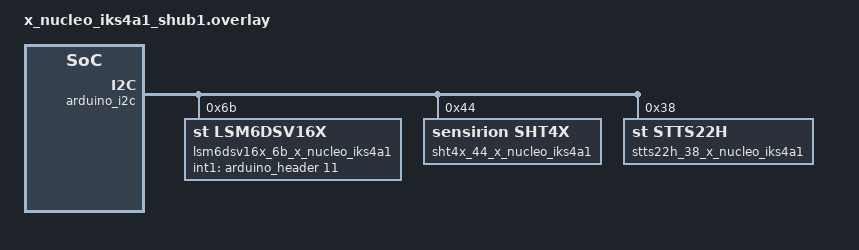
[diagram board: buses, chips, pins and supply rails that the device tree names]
/*
 * Copyright (c) 2024 STMicroelectronics
 *
 * SPDX-License-Identifier: Apache-2.0
 */

/ {
	aliases {
		accel0 = &lsm6dsv16x_6b_x_nucleo_iks4a1;
		temphum0 = &sht4x_44_x_nucleo_iks4a1;
		temp0 = &stts22h_38_x_nucleo_iks4a1;
	};
};

&arduino_i2c {
	lsm6dsv16x_6b_x_nucleo_iks4a1: lsm6dsv16x@6b {
		compatible = "st,lsm6dsv16x";
		reg = <0x6b>;
		accel-odr = <0x02>;
		gyro-odr = <0x02>;
		int1-gpios =  <&arduino_header 11 GPIO_ACTIVE_HIGH>; /* D5 */
		drdy-pin = <1>;
	};

	sht4x_44_x_nucleo_iks4a1: sht4x@44 {
		status = "okay";
		compatible = "sensirion,sht4x";
		reg = <0x44>;
		repeatability = <2>;
	};

	stts22h_38_x_nucleo_iks4a1: stts22h@38 {
		compatible = "st,stts22h";
		reg = <0x38>;
		sampling-rate = <STTS22H_100Hz>;
		status = "okay";
	};
};
